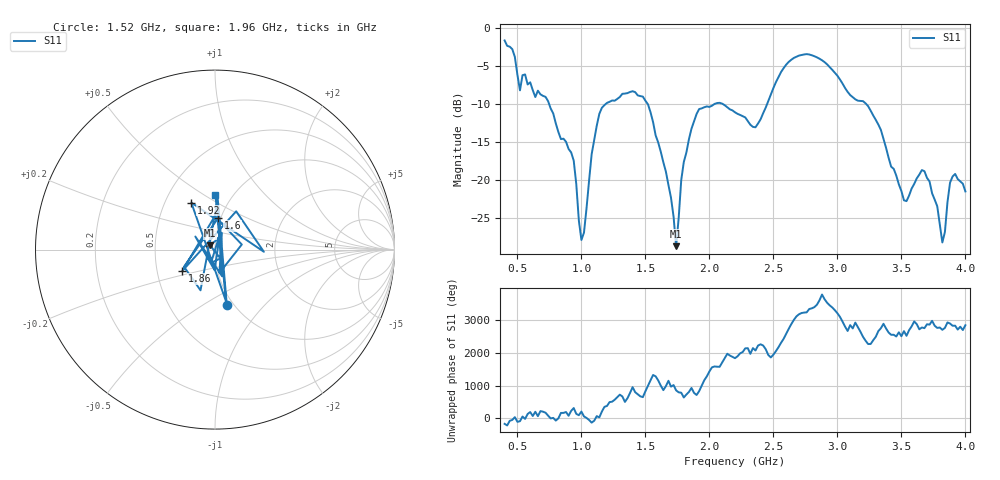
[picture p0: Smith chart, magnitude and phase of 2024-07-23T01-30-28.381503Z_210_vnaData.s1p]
!Created with skrf (http://scikit-rf.org).
# Hz S RI R 50.0
!freq ReS11 ImS11
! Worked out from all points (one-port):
!   181 points, 400 MHz to 4 GHz, reference 50 ohm
!   lowest |S11| = -28.6 dB at 1.74 GHz (marker M1), VSWR 1.08, Z = 47.2 + j2.28 ohm
!   |S11| at or under -10 dB: 748 MHz to 1.189 GHz (440.8 MHz wide, 45.5 % of centre); 1.519 GHz to 2.038 GHz (518.8 MHz wide, 29.2 % of centre); 3.226 GHz to end of sweep (the widest 3 of 4)
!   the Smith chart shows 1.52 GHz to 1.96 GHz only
!   S11 on the Smith chart (normalised r, x): 1.52 GHz: 0.93, -0.64; 1.6 GHz: 0.97, +0.35; 1.86 GHz: 0.67, -0.17; 1.92 GHz: 0.68, +0.39; 1.96 GHz: 0.84, +0.56
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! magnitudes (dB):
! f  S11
! 400 MHz  -1.6
! 520 MHz  -8.2
! 560 MHz  -6.1
! 720 MHz  -9.1
! 860 MHz  -14.5
! 940 MHz  -17.4
! 1 GHz  -27.8
! 1.14 GHz  -11.3
! 1.3 GHz  -9.1
! 1.52 GHz  -10.0
! 1.6 GHz  -15.0
! 1.7 GHz  -22.3
! 1.74 GHz  -28.6
! 1.76 GHz  -24.9
! 1.8 GHz  -17.6
! 1.86 GHz  -13.2
! 1.92 GHz  -10.6
! 1.96 GHz  -10.4
! 2.2 GHz  -11.1
! 2.36 GHz  -13.0
! 2.66 GHz  -3.9
! 3.1 GHz  -8.8
! 3.24 GHz  -10.3
! 3.56 GHz  -22.0
! 3.68 GHz  -18.8
! 3.82 GHz  -28.2
! 3.9 GHz  -19.5
! 4 GHz  -21.5
